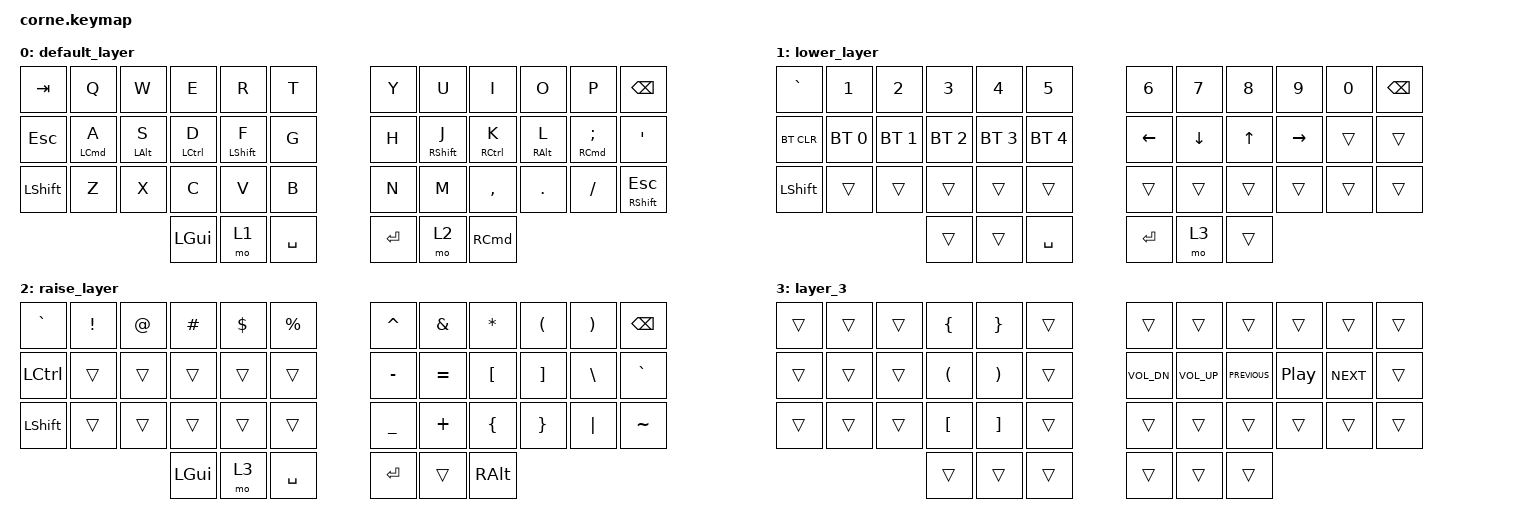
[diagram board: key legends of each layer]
/*
 * Copyright (c) 2020 The ZMK Contributors
 *
 * SPDX-License-Identifier: MIT
 */

#include <behaviors.dtsi>
#include <dt-bindings/zmk/bt.h>
#include <dt-bindings/zmk/keys.h>

&mt {
    tapping-term-ms = <200>;
    flavor = "tap-preferred";
};

/ {
    macros {
        vim_write: vim_write {
            compatible = "zmk,behavior-macro";
            #binding-cells = <0>;
            bindings = <&kp COLON &kp W &kp Q>;
            label = "VIM_WRITE";
        };
    };

    keymap {
        compatible = "zmk,keymap";

        default_layer {
            // -----------------------------------------------------------------------------------------
            // |  TAB |  Q  |  W  |  E  |  R  |  T  |   |  Y  |  U   |  I  |  O  |  P  | BKSP |
            // | CTRL |  A  |  S  |  D  |  F  |  G  |   |  H  |  J   |  K  |  L  |  ;  |  '   |
            // | SHFT |  Z  |  X  |  C  |  V  |  B  |   |  N  |  M   |  ,  |  .  |  /  | ESC  |
            //                    | GUI | LWR | SPC |   | ENT | RSE  | ALT |

            bindings = <
&kp TAB    &kp Q               &kp W           &kp E        &kp R             &kp T        &kp Y    &kp U              &kp I                &kp O            &kp P                   &kp BSPC
&kp ESC    &mt LEFT_COMMAND A  &mt LEFT_ALT S  &mt LCTRL D  &mt LEFT_SHIFT F  &kp G        &kp H    &mt RIGHT_SHIFT J  &mt RIGHT_CONTROL K  &mt RIGHT_ALT L  &mt RIGHT_COMMAND SEMI  &kp SQT
&kp LSHFT  &kp Z               &kp X           &kp C        &kp V             &kp B        &kp N    &kp M              &kp COMMA            &kp DOT          &kp FSLH                &mt RIGHT_SHIFT ESC
                                               &kp LGUI     &mo 1             &kp SPACE    &kp RET  &mo 2              &kp RIGHT_COMMAND
            >;
        };

        lower_layer {
            // -----------------------------------------------------------------------------------------
            // |  TAB |  1  |  2  |  3  |  4  |  5  |   |  6  |  7  |  8  |  9  |  0  | BKSP |
            // | BTCLR| BT1 | BT2 | BT3 | BT4 | BT5 |   | LFT | DWN |  UP | RGT |     |      |
            // | SHFT |     |     |     |     |     |   |     |     |     |     |     |      |
            //                    | GUI |     | SPC |   | ENT |     | ALT |

            bindings = <
&kp GRAVE   &kp N1        &kp N2        &kp N3        &kp N4        &kp N5          &kp N6    &kp N7    &kp N8  &kp N9     &kp N0  &kp BSPC
&bt BT_CLR  &bt BT_SEL 0  &bt BT_SEL 1  &bt BT_SEL 2  &bt BT_SEL 3  &bt BT_SEL 4    &kp LEFT  &kp DOWN  &kp UP  &kp RIGHT  &trans  &trans
&kp LSHFT   &trans        &trans        &trans        &trans        &trans          &trans    &trans    &trans  &trans     &trans  &trans
                                        &trans        &trans        &kp SPACE       &kp RET   &mo 3     &trans
            >;
        };

        raise_layer {
            // -----------------------------------------------------------------------------------------
            // |  TAB |  !  |  @  |  #  |  $  |  %  |   |  ^  |  &  |  *  |  (  |  )  | BKSP |
            // | CTRL |     |     |     |     |     |   |  -  |  =  |  [  |  ]  |  \  |  `   |
            // | SHFT |     |     |     |     |     |   |  _  |  +  |  {  |  }  | "|" |  ~   |
            //                    | GUI |     | SPC |   | ENT |     | ALT |

            bindings = <
&kp GRAVE  &kp EXCL  &kp AT  &kp HASH  &kp DLLR  &kp PRCNT    &kp CARET  &kp AMPS   &kp ASTRK  &kp LPAR  &kp RPAR  &kp BSPC
&kp LCTRL  &trans    &trans  &trans    &trans    &trans       &kp MINUS  &kp EQUAL  &kp LBKT   &kp RBKT  &kp BSLH  &kp GRAVE
&kp LSHFT  &trans    &trans  &trans    &trans    &trans       &kp UNDER  &kp PLUS   &kp LBRC   &kp RBRC  &kp PIPE  &kp TILDE
                             &kp LGUI  &mo 3     &kp SPACE    &kp RET    &trans     &kp RALT
            >;
        };

        layer_3 {
            bindings = <
&trans  &trans  &trans  &kp LEFT_BRACE        &kp RIGHT_BRACE        &trans    &trans        &trans           &trans          &trans            &trans      &trans
&trans  &trans  &trans  &kp LEFT_PARENTHESIS  &kp RIGHT_PARENTHESIS  &trans    &kp C_VOL_DN  &kp C_VOLUME_UP  &kp C_PREVIOUS  &kp C_PLAY_PAUSE  &kp C_NEXT  &trans
&trans  &trans  &trans  &kp LEFT_BRACKET      &kp RIGHT_BRACKET      &trans    &trans        &trans           &trans          &trans            &trans      &trans
                        &trans                &trans                 &trans    &trans        &trans           &trans
            >;
        };
    };
};
